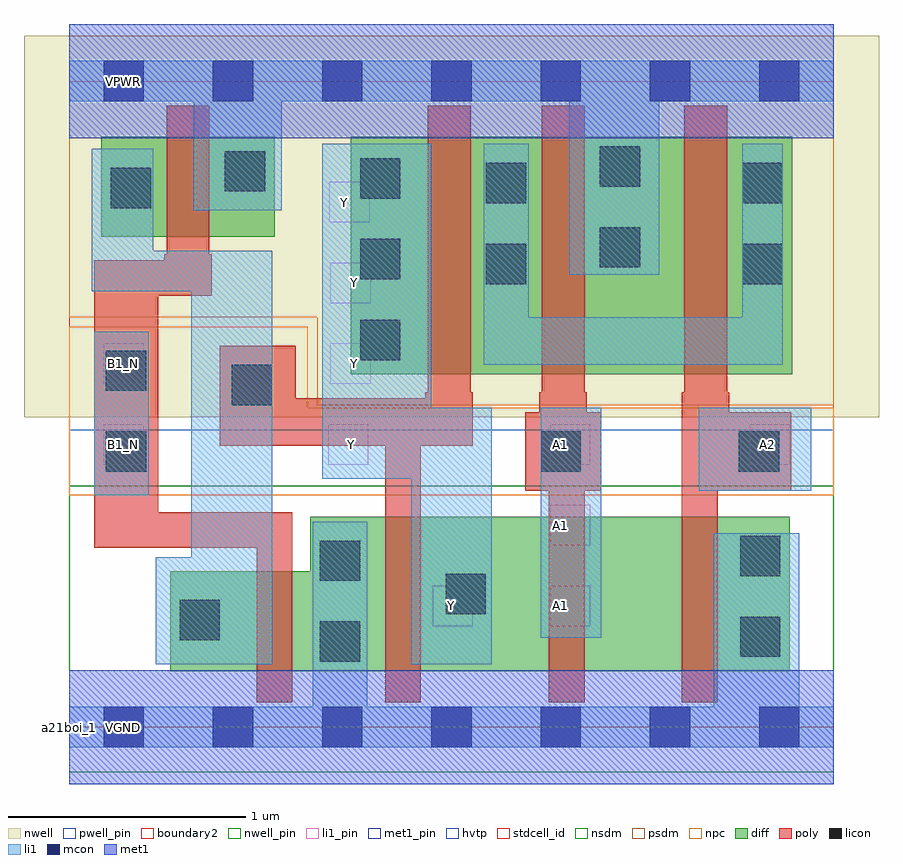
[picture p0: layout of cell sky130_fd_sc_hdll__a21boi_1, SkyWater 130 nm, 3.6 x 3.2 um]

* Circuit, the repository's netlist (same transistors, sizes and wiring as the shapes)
* Copyright 2020 The SkyWater PDK Authors
*
* Licensed under the Apache License, Version 2.0 (the "License");
* you may not use this file except in compliance with the License.
* You may obtain a copy of the License at
*
*     https://www.apache.org/licenses/LICENSE-2.0
*
* Unless required by applicable law or agreed to in writing, software
* distributed under the License is distributed on an "AS IS" BASIS,
* WITHOUT WARRANTIES OR CONDITIONS OF ANY KIND, either express or implied.
* See the License for the specific language governing permissions and
* limitations under the License.
*
* SPDX-License-Identifier: Apache-2.0

.SUBCKT sky130_fd_sc_hdll__a21boi_1 A1 A2 B1_N VGND VNB VPB VPWR Y
*.PININFO A1:I A2:I B1_N:I VGND:I VNB:I VPB:I VPWR:I Y:O
MMPA0 net40 A1 VPWR VPB sky130_fd_pr__pfet_01v8_hvt m=1 w=1.0U l=0.18U mult=1 sa=0.265
+ sb=0.265 sd=0.28 area=0.063 perim=1.14
MMPA1 net40 A2 VPWR VPB sky130_fd_pr__pfet_01v8_hvt m=1 w=1.0U l=0.18U mult=1 sa=0.265
+ sb=0.265 sd=0.28 area=0.063 perim=1.14
MMPB0 Y B1 net40 VPB sky130_fd_pr__pfet_01v8_hvt m=1 w=1.0U l=0.18U mult=1 sa=0.265
+ sb=0.265 sd=0.28 area=0.063 perim=1.14
MMIPB1N B1 B1_N VPWR VPB sky130_fd_pr__pfet_01v8_hvt m=1 w=0.42U l=0.18U mult=1
+ sa=0.265 sb=0.265 sd=0.28 area=0.063 perim=1.14
MMNA0 Y A1 sndA1 VNB sky130_fd_pr__nfet_01v8 m=1 w=0.65U l=0.15U mult=1 sa=0.265
+ sb=0.265 sd=0.28 area=0.063 perim=1.14
MMNA1 sndA1 A2 VGND VNB sky130_fd_pr__nfet_01v8 m=1 w=0.65U l=0.15U mult=1 sa=0.265
+ sb=0.265 sd=0.28 area=0.063 perim=1.14
MMNB0 Y B1 VGND VNB sky130_fd_pr__nfet_01v8 m=1 w=0.65U l=0.15U mult=1 sa=0.265
+ sb=0.265 sd=0.28 area=0.063 perim=1.14
MMINB1N B1 B1_N VGND VNB sky130_fd_pr__nfet_01v8 m=1 w=0.42U l=0.15U mult=1 sa=0.265
+ sb=0.265 sd=0.28 area=0.063 perim=1.14
.ENDS sky130_fd_sc_hdll__a21boi_1

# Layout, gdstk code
import gdstk
lib = gdstk.Library(unit=1e-6, precision=1e-09)
def R(c, l, rs):  # rectangles x0, y0, x1, y1
    for r in rs: c.add(gdstk.rectangle(r[:2], r[2:], *l))
def A(c, l, x, y, w, h, nx, ny, dx, dy):  # array of equal rectangles
    R(c, l, [(x+i*dx, y+j*dy, x+i*dx+w, y+j*dy+h) for i in range(nx) for j in range(ny)])
def P(c, l, *ps):  # polygons
    for p in ps: c.add(gdstk.Polygon(p, *l))
nwell_pin = (64, 16)
nwell = (64, 20)
diff = (65, 20)
poly = (66, 20)
licon = (66, 44)
li1_pin = (67, 16)
li1 = (67, 20)
mcon = (67, 44)
met1_pin = (68, 16)
met1 = (68, 20)
hvtp = (78, 44)
stdcell_id = (81, 4)
nsdm = (93, 44)
psdm = (94, 20)
npc = (95, 20)
pwell_pin = (122, 16)
boundary2 = (236, 0)

sky130_fd_sc_hdll__a21bo = lib.new_cell('sky130_fd_sc_hdll__a21boi_1')
R(sky130_fd_sc_hdll__a21bo, nwell_pin, [(0.145,2.635,0.315,2.805)])
R(sky130_fd_sc_hdll__a21bo, nwell, [(-0.19,1.305,3.41,2.91)])
R(sky130_fd_sc_hdll__a21bo, diff, [(1.185,1.485,3.045,2.485), (0.135,2.065,0.865,2.485)])
P(sky130_fd_sc_hdll__a21bo, diff, [(3.035,0.885),(1.015,0.885),(1.015,0.655),(0.425,0.655),(0.425,0.235),(3.035,0.235)])
P(sky130_fd_sc_hdll__a21bo, poly, [(0.94,0.905),(0.375,0.905),(0.375,1.815),(0.6,1.815),(0.6,1.99),(0.59,1.99),(0.59,2.615),(0.41,2.615),(0.41,1.99),(0.4,1.99),(0.4,1.965),(0.105,1.965),(0.105,0.755),(0.79,0.755),(0.79,0.105),(0.94,0.105)],
  [(1.7,1.41),(1.69,1.41),(1.69,2.615),(1.51,2.615),(1.51,1.41),(1.5,1.41),(1.5,1.385),(0.955,1.385),(0.955,1.605),(0.635,1.605),(0.635,1.185),(1.33,1.185),(1.33,0.105),(1.48,0.105),(1.48,1.185),(1.7,1.185)],
  [(2.24,1.325),(2.18,1.325),(2.18,1.41),(2.17,1.41),(2.17,2.615),(1.99,2.615),(1.99,1.41),(1.98,1.41),(1.98,1.325),(1.92,1.325),(1.92,0.995),(2.02,0.995),(2.02,0.105),(2.17,0.105),(2.17,0.995),(2.24,0.995)],
  [(3.04,1.325),(2.78,1.325),(2.78,1.41),(2.77,1.41),(2.77,2.615),(2.59,2.615),(2.59,1.41),(2.58,1.41),(2.58,0.105),(2.73,0.105),(2.73,0.995),(3.04,0.995)])
A(sky130_fd_sc_hdll__a21bo, licon, 1.225, 1.545, 0.17, 0.17, 1, 3, 0, 0.34)
R(sky130_fd_sc_hdll__a21bo, licon, [(1.055,0.275,1.225,0.445), (2.825,0.295,2.995,0.465), (0.465,0.365,0.635,0.535), (1.585,0.475,1.755,0.645), (1.055,0.615,1.225,0.785), (2.825,0.635,2.995,0.805), (0.155,1.075,0.325,1.245), (1.985,1.075,2.155,1.245), (2.82,1.075,2.99,1.245), (0.685,1.355,0.855,1.525), (0.155,1.415,0.325,1.585), (1.755,1.865,1.925,2.035), (2.835,1.865,3.005,2.035), (2.235,1.935,2.405,2.105), (0.175,2.185,0.345,2.355), (1.755,2.205,1.925,2.375), (2.835,2.205,3.005,2.375), (0.655,2.255,0.825,2.425), (2.235,2.275,2.405,2.445)])
A(sky130_fd_sc_hdll__a21bo, li1_pin, 2.025, 0.425, 0.17, 0.17, 1, 3, 0, 0.34)
R(sky130_fd_sc_hdll__a21bo, li1_pin, [(1.53,0.425,1.7,0.595), (0.145,1.105,0.315,1.275), (1.09,1.105,1.26,1.275), (2.865,1.105,3.035,1.275), (0.145,1.445,0.315,1.615), (1.1,1.445,1.27,1.615), (1.1,1.785,1.27,1.955), (1.095,2.125,1.265,2.295)])
R(sky130_fd_sc_hdll__a21bo, li1, [(1.985,0.375,2.24,1.345), (0.105,0.975,0.335,1.665), (2.65,0.995,3.125,1.345)])
P(sky130_fd_sc_hdll__a21bo, li1, [(0.855,2.005),(0.355,2.005),(0.355,2.435),(0.095,2.435),(0.095,1.835),(0.515,1.835),(0.515,0.715),(0.365,0.715),(0.365,0.265),(0.855,0.265)],
  [(1.78,1.345),(1.525,1.345),(1.525,2.455),(1.065,2.455),(1.065,1.045),(1.44,1.045),(1.44,0.265),(1.78,0.265)],
  [(3.22,2.805),(0,2.805),(0,2.635),(0.525,2.635),(0.525,2.175),(0.895,2.175),(0.895,2.635),(2.105,2.635),(2.105,1.905),(2.485,1.905),(2.485,2.635),(3.22,2.635)],
  [(3.005,2.455),(2.835,2.455),(2.835,1.725),(1.935,1.725),(1.935,2.455),(1.745,2.455),(1.745,1.525),(3.005,1.525)],
  [(3.22,0.085),(3.075,0.085),(3.075,0.815),(2.715,0.815),(2.715,0.085),(1.255,0.085),(1.255,0.865),(1.025,0.865),(1.025,0.085),(0,0.085),(0,-0.085),(3.22,-0.085)])
A(sky130_fd_sc_hdll__a21bo, mcon, 0.145, -0.085, 0.17, 0.17, 7, 2, 0.46, 2.72)
R(sky130_fd_sc_hdll__a21bo, met1_pin, [(0.145,-0.085,0.315,0.085), (0.145,2.635,0.315,2.805)])
R(sky130_fd_sc_hdll__a21bo, met1, [(0,-0.24,3.22,0.24), (0,2.48,3.22,2.96)])
R(sky130_fd_sc_hdll__a21bo, hvtp, [(0,1.25,3.22,2.72)])
R(sky130_fd_sc_hdll__a21bo, stdcell_id, [(0,0,3.22,2.72)])
R(sky130_fd_sc_hdll__a21bo, nsdm, [(0,-0.19,3.22,1.015)])
P(sky130_fd_sc_hdll__a21bo, psdm, [(3.22,2.91),(0,2.91),(0,1.725),(1.045,1.725),(1.045,1.355),(3.22,1.355)])
P(sky130_fd_sc_hdll__a21bo, npc, [(3.22,1.345),(1.005,1.345),(1.005,1.685),(0,1.685),(0,0.975),(3.22,0.975)])
R(sky130_fd_sc_hdll__a21bo, pwell_pin, [(0.145,-0.085,0.315,0.085)])
R(sky130_fd_sc_hdll__a21bo, boundary2, [(0,0,3.22,2.72)])
sky130_fd_sc_hdll__a21bo.add(gdstk.Label('Y', (1.61,0.51), layer=67, texttype=5))
sky130_fd_sc_hdll__a21bo.add(gdstk.Label('Y', (1.19,1.19), layer=67, texttype=5))
sky130_fd_sc_hdll__a21bo.add(gdstk.Label('A1', (2.07,1.19), layer=67, texttype=5))
sky130_fd_sc_hdll__a21bo.add(gdstk.Label('Y', (1.16,2.21), layer=67, texttype=5))
sky130_fd_sc_hdll__a21bo.add(gdstk.Label('Y', (1.2,1.53), layer=67, texttype=5))
sky130_fd_sc_hdll__a21bo.add(gdstk.Label('B1_N', (0.23,1.19), layer=67, texttype=5))
sky130_fd_sc_hdll__a21bo.add(gdstk.Label('Y', (1.2,1.87), layer=67, texttype=5))
sky130_fd_sc_hdll__a21bo.add(gdstk.Label('A1', (2.07,0.51), layer=67, texttype=5))
sky130_fd_sc_hdll__a21bo.add(gdstk.Label('A2', (2.94,1.19), layer=67, texttype=5))
sky130_fd_sc_hdll__a21bo.add(gdstk.Label('B1_N', (0.23,1.53), layer=67, texttype=5))
sky130_fd_sc_hdll__a21bo.add(gdstk.Label('A1', (2.07,0.85), layer=67, texttype=5))
sky130_fd_sc_hdll__a21bo.add(gdstk.Label('VPWR', (0.23,2.72), layer=68, texttype=5))
sky130_fd_sc_hdll__a21bo.add(gdstk.Label('VGND', (0.23,0), layer=68, texttype=5))
sky130_fd_sc_hdll__a21bo.add(gdstk.Label('VPB', (0.23,2.72), layer=64, texttype=5))
sky130_fd_sc_hdll__a21bo.add(gdstk.Label('VNB', (0.23,0), layer=64, texttype=59))
sky130_fd_sc_hdll__a21bo.add(gdstk.Label('a21boi_1', (0,0), layer=83, texttype=44))

lib.write_gds('sky130_fd_sc_hdll__a21boi_1.gds')
